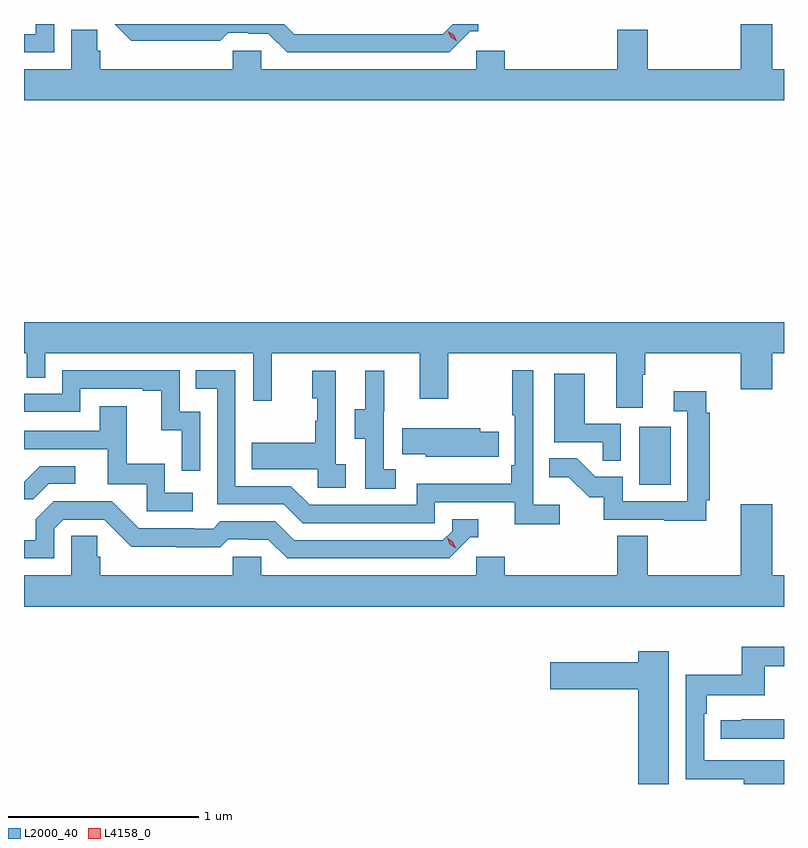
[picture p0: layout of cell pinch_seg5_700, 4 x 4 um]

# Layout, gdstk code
import gdstk
lib = gdstk.Library(unit=1e-6, precision=1e-09)
def R(c, l, rs):  # rectangles x0, y0, x1, y1
    for r in rs: c.add(gdstk.rectangle(r[:2], r[2:], *l))
def P(c, l, *ps):  # polygons
    for p in ps: c.add(gdstk.Polygon(p, *l))
L2000_40 = (2000, 40)
L4158_0 = (4158, 0)

pinch_seg5_700 = lib.new_cell('pinch_seg5_700')
R(pinch_seg5_700, L2000_40, [(1123.514,848.076,1123.678,848.383)])
P(pinch_seg5_700, L2000_40, [(1120.434,850.502),(1120.337,850.502),(1120.337,850.449),(1120.275,850.449),(1120.275,850.353),(1120.434,850.353)],
  [(1122.624,850.464),(1122.667,850.464),(1122.667,850.502),(1122.528,850.502),(1122.528,850.497),(1122.48,850.449),(1121.697,850.449),(1121.644,850.502),(1120.753,850.502),(1120.84,850.415),(1121.076,850.415),(1121.076,850.413),(1121.309,850.413),(1121.351,850.455),(1121.454,850.455),(1121.454,850.452),(1121.561,850.452),(1121.66,850.353),(1122.513,850.353)],
  [(1124.275,850.264),(1124.212,850.264),(1124.212,850.502),(1124.048,850.502),(1124.048,850.264),(1123.557,850.264),(1123.557,850.472),(1123.397,850.472),(1123.397,850.264),(1122.806,850.264),(1122.806,850.362),(1122.654,850.362),(1122.654,850.264),(1121.523,850.264),(1121.523,850.362),(1121.373,850.362),(1121.373,850.264),(1120.676,850.264),(1120.676,850.362),(1120.661,850.362),(1120.661,850.472),(1120.524,850.472),(1120.524,850.264),(1120.275,850.264),(1120.275,850.1),(1124.275,850.1)],
  [(1123.531,848.656),(1123.544,848.656),(1123.544,848.768),(1124.048,848.768),(1124.048,848.58),(1124.212,848.58),(1124.212,848.768),(1124.275,848.768),(1124.275,848.932),(1120.275,848.932),(1120.275,848.768),(1120.29,848.768),(1120.29,848.641),(1120.386,848.641),(1120.386,848.768),(1121.481,848.768),(1121.481,848.52),(1121.579,848.52),(1121.579,848.768),(1122.359,848.768),(1122.359,848.529),(1122.507,848.529),(1122.507,848.768),(1123.391,848.768),(1123.391,848.482),(1123.531,848.482)],
  [(1123.096,847.972),(1122.954,847.972),(1122.954,848.68),(1122.846,848.68),(1122.846,848.443),(1122.858,848.443),(1122.858,848.179),(1122.84,848.179),(1122.84,848.083),(1122.342,848.083),(1122.342,847.971),(1121.778,847.971),(1121.679,848.07),(1121.388,848.07),(1121.388,848.679),(1121.179,848.679),(1121.179,848.583),(1121.292,848.583),(1121.292,847.974),(1121.642,847.974),(1121.741,847.875),(1122.438,847.875),(1122.438,847.986),(1122.857,847.986),(1122.857,847.87),(1123.096,847.87)],
  [(1121.202,848.46),(1121.094,848.46),(1121.094,848.679),(1120.476,848.679),(1120.476,848.556),(1120.275,848.556),(1120.275,848.46),(1120.572,848.46),(1120.572,848.583),(1120.901,848.583),(1120.901,848.571),(1120.997,848.571),(1120.997,848.363),(1121.106,848.363),(1121.106,848.151),(1121.202,848.151)],
  [(1122.232,848.159),(1122.168,848.159),(1122.168,848.463),(1122.17,848.463),(1122.17,848.677),(1122.071,848.677),(1122.071,848.475),(1122.017,848.475),(1122.017,848.32),(1122.072,848.32),(1122.072,848.056),(1122.232,848.056)],
  [(1121.968,848.186),(1121.916,848.186),(1121.916,848.677),(1121.792,848.677),(1121.792,848.532),(1121.818,848.532),(1121.818,848.414),(1121.808,848.414),(1121.808,848.299),(1121.473,848.299),(1121.473,848.159),(1121.82,848.159),(1121.82,848.061),(1121.968,848.061)],
  [(1123.416,848.397),(1123.225,848.397),(1123.225,848.662),(1123.067,848.662),(1123.067,848.301),(1123.321,848.301),(1123.321,848.203),(1123.416,848.203)],
  [(1123.865,847.996),(1123.883,847.996),(1123.883,848.456),(1123.865,848.456),(1123.865,848.569),(1123.695,848.569),(1123.695,848.463),(1123.767,848.463),(1123.767,847.989),(1123.425,847.989),(1123.425,848.118),(1123.281,848.118),(1123.183,848.216),(1123.039,848.216),(1123.039,848.117),(1123.143,848.117),(1123.25,848.01),(1123.327,848.01),(1123.327,847.893),(1123.645,847.893),(1123.645,847.888),(1123.865,847.888)],
  [(1121.164,848.034),(1121.016,848.034),(1121.016,848.188),(1120.817,848.188),(1120.817,848.491),(1120.673,848.491),(1120.673,848.361),(1120.275,848.361),(1120.275,848.265),(1120.715,848.265),(1120.715,848.079),(1120.92,848.079),(1120.92,847.938),(1121.164,847.938)],
  [(1122.773,848.355),(1122.675,848.355),(1122.675,848.374),(1122.265,848.374),(1122.265,848.237),(1122.39,848.237),(1122.39,848.225),(1122.773,848.225)],
  [(1120.404,848.082),(1120.546,848.082),(1120.546,848.175),(1120.358,848.175),(1120.277,848.094),(1120.275,848.094),(1120.275,848.002),(1120.324,848.002)],
  [(1120.434,847.845),(1120.482,847.893),(1120.698,847.893),(1120.84,847.751),(1121.076,847.751),(1121.076,847.749),(1121.309,847.749),(1121.351,847.791),(1121.454,847.791),(1121.454,847.788),(1121.561,847.788),(1121.66,847.689),(1122.513,847.689),(1122.624,847.8),(1122.667,847.8),(1122.667,847.896),(1122.528,847.896),(1122.528,847.833),(1122.48,847.785),(1121.697,847.785),(1121.598,847.884),(1121.309,847.884),(1121.27,847.845),(1121.171,847.845),(1121.171,847.848),(1120.878,847.848),(1120.737,847.989),(1120.431,847.989),(1120.337,847.895),(1120.337,847.785),(1120.275,847.785),(1120.275,847.689),(1120.434,847.689)],
  [(1124.275,847.6),(1124.212,847.6),(1124.212,847.975),(1124.048,847.975),(1124.048,847.6),(1123.557,847.6),(1123.557,847.808),(1123.397,847.808),(1123.397,847.6),(1122.806,847.6),(1122.806,847.698),(1122.654,847.698),(1122.654,847.6),(1121.523,847.6),(1121.523,847.698),(1121.373,847.698),(1121.373,847.6),(1120.676,847.6),(1120.676,847.698),(1120.661,847.698),(1120.661,847.808),(1120.524,847.808),(1120.524,847.6),(1120.275,847.6),(1120.275,847.436),(1124.275,847.436)],
  [(1124.275,846.628),(1124.167,846.628),(1124.167,846.627),(1123.854,846.627),(1123.854,846.872),(1123.868,846.872),(1123.868,846.968),(1124.173,846.968),(1124.173,847.123),(1124.275,847.123),(1124.275,847.224),(1124.052,847.224),(1124.052,847.078),(1123.758,847.078),(1123.758,846.526),(1124.063,846.526),(1124.063,846.502),(1124.275,846.502)],
  [(1123.669,847.201),(1123.508,847.201),(1123.508,847.143),(1123.044,847.143),(1123.044,847.001),(1123.508,847.001),(1123.508,846.502),(1123.669,846.502)],
  [(1124.275,846.842),(1124.053,846.842),(1124.053,846.837),(1123.941,846.837),(1123.941,846.741),(1124.275,846.741)])
P(pinch_seg5_700, L4158_0, [(1122.552,850.412),(1122.521,850.431),(1122.505,850.464),(1122.505,850.464),(1122.506,850.464),(1122.536,850.445),(1122.552,850.412),(1122.552,850.412)],
  [(1122.548,847.744),(1122.517,847.764),(1122.502,847.797),(1122.502,847.797),(1122.502,847.797),(1122.532,847.777),(1122.548,847.745),(1122.548,847.744)])

lib.write_gds('pinch_seg5_700.gds')
